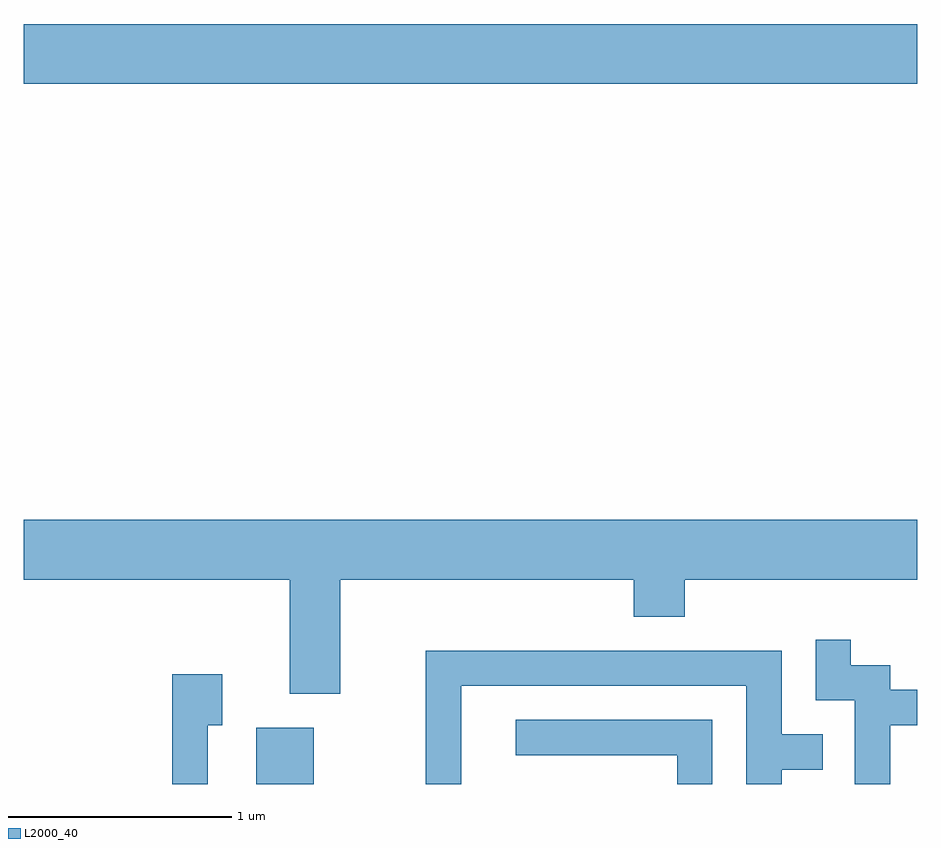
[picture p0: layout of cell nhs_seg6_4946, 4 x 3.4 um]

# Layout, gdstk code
import gdstk
lib = gdstk.Library(unit=1e-6, precision=1e-09)
def R(c, l, rs):  # rectangles x0, y0, x1, y1
    for r in rs: c.add(gdstk.rectangle(r[:2], r[2:], *l))
def P(c, l, *ps):  # polygons
    for p in ps: c.add(gdstk.Polygon(p, *l))
L2000_40 = (2000, 40)

nhs_seg6_4946 = lib.new_cell('nhs_seg6_4946')
R(nhs_seg6_4946, L2000_40, [(336.651,1620.162,336.909,1620.414), (335.611,1623.296,339.611,1623.564)])
P(nhs_seg6_4946, L2000_40, [(337.029,1621.076),(338.341,1621.076),(338.341,1620.911),(338.569,1620.911),(338.569,1621.076),(339.611,1621.076),(339.611,1621.344),(335.611,1621.344),(335.611,1621.076),(336.801,1621.076),(336.801,1620.566),(337.029,1620.566)],
  [(339.489,1620.426),(339.611,1620.426),(339.611,1620.584),(339.489,1620.584),(339.489,1620.694),(339.314,1620.694),(339.314,1620.808),(339.156,1620.808),(339.156,1620.536),(339.331,1620.536),(339.331,1620.162),(339.489,1620.162)],
  [(337.569,1620.601),(338.846,1620.601),(338.846,1620.162),(339.004,1620.162),(339.004,1620.226),(339.188,1620.226),(339.188,1620.384),(339.004,1620.384),(339.004,1620.759),(337.411,1620.759),(337.411,1620.162),(337.569,1620.162)],
  [(336.434,1620.426),(336.499,1620.426),(336.499,1620.654),(336.276,1620.654),(336.276,1620.162),(336.434,1620.162)],
  [(338.694,1620.449),(337.813,1620.449),(337.813,1620.291),(338.536,1620.291),(338.536,1620.162),(338.694,1620.162)])

lib.write_gds('nhs_seg6_4946.gds')
